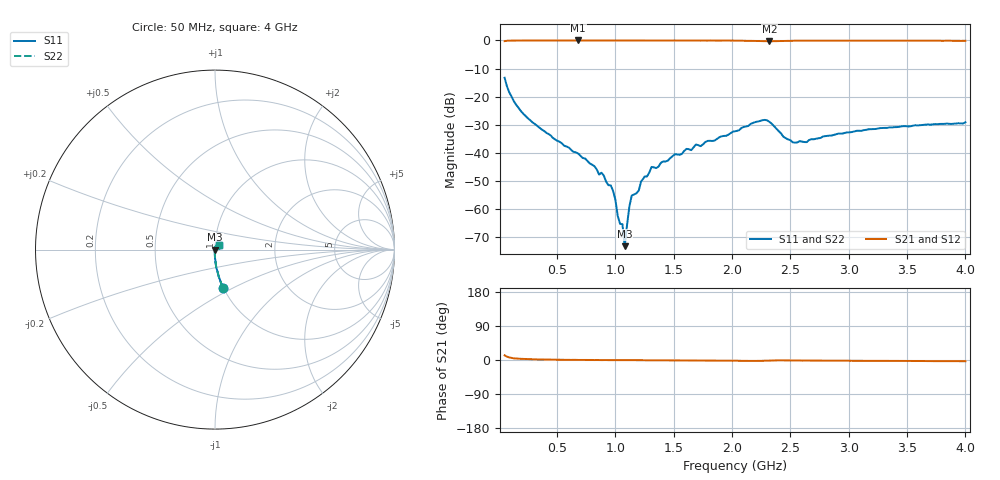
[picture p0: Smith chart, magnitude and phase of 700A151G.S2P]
!  American Technical Ceramics  Date:  3/13/98
!  One Norden Lane
!  Huntington Station,  NY.  11746-2102
!  Tel:  (516) 547-5700  Fax:  (516) 547-5748
!  Part Number  700A151G
!  Description: Porcelain, High Q, Low ESR
!  Application: Bypass, Coupling, Timing, Feedback
!  Tuning, Impedance Match, Blocking
# GHZ S DB R 50
! Freq  |S11|  S11 Ph  |S21|  S21 Ph  |S12|  S12 Ph  |S22|  S22 Ph
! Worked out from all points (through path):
!   201 points, 50 MHz to 4 GHz, reference 50 ohm
!   highest |S21| = 0.00 dB at 680 MHz (marker M1); lowest = -0.3 dB at 2.32 GHz (marker M2)
!   lowest |S11| = -73.1 dB at 1.08 GHz (marker M3), VSWR 1.00, Z = 50 - j0.0159 ohm
!   |S11| at or under -10 dB: start of sweep to end of sweep
!   |S22| runs from -73.1 to -13.3 dB; largest |S21 - S12| = 0
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0.05  -13.27 -78.5  -0.23 12.2  -0.23 12.2  -13.27 -78.5
0.13  -21.66 -87.0  -0.04 4.3  -0.04 4.3  -21.66 -87.0
0.21  -26.05 -89.8  -0.01 3.0  -0.01 3.0  -26.05 -89.8
0.68  -40.18 -96.2  0.00 0.2  0.00 0.2  -40.18 -96.2
0.72  -41.78 -97.1  -0.02 0.1  -0.02 0.1  -41.78 -97.1
0.96  -51.51 -102.3  -0.01 -0.2  -0.01 -0.2  -51.51 -102.3
1.04  -65.21 -71.6  -0.02 -0.4  -0.02 -0.4  -65.21 -71.6
1.06  -65.29 -90.9  0.00 -0.4  0.00 -0.4  -65.29 -90.9
1.08  -73.12 -134.0  -0.02 -0.4  -0.02 -0.4  -73.12 -134.0
1.12  -58.91 99.2  -0.02 -0.5  -0.02 -0.5  -58.91 99.2
1.14  -55.10 84.6  -0.02 -0.5  -0.02 -0.5  -55.10 84.6
1.2  -53.36 83.7  -0.02 -0.6  -0.02 -0.6  -53.36 83.7
1.22  -50.11 85.5  -0.01 -0.6  -0.01 -0.6  -50.11 85.5
1.31  -44.96 81.0  -0.03 -0.7  -0.03 -0.7  -44.96 81.0
1.37  -44.79 82.9  -0.02 -0.8  -0.02 -0.8  -44.79 82.9
1.69  -36.99 76.7  -0.03 -1.3  -0.03 -1.3  -36.99 76.7
2.03  -32.22 68.6  -0.04 -1.9  -0.04 -1.9  -32.22 68.6
2.32  -28.94 23.1  -0.29 -1.6  -0.29 -1.6  -28.94 23.1
2.52  -36.21 27.1  -0.11 -1.2  -0.11 -1.2  -36.21 27.1
2.7  -35.13 52.1  -0.07 -1.5  -0.07 -1.5  -35.13 52.1
3.35  -30.91 63.3  -0.06 -2.4  -0.06 -2.4  -30.91 63.3
4  -29.08 52.6  -0.12 -3.3  -0.12 -3.3  -29.08 52.6
